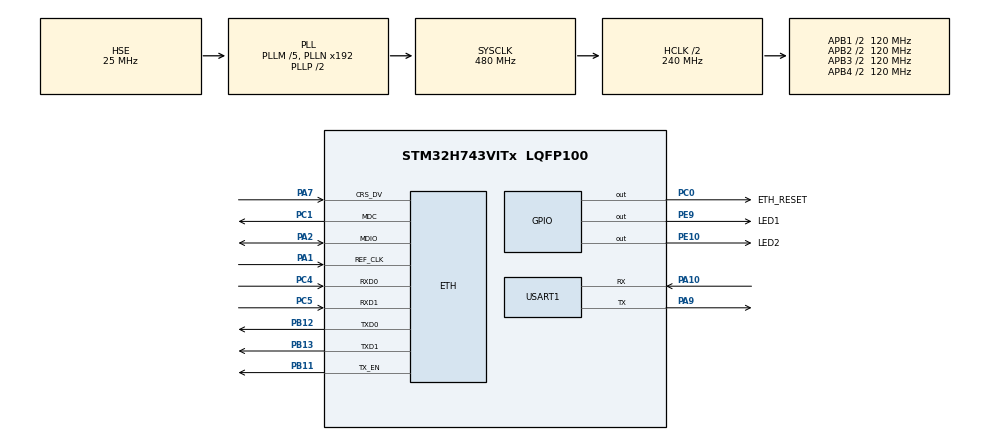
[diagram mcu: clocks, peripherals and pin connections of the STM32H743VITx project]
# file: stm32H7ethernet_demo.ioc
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CORTEX_M7.AccessPermission_S-Cortex_Memory_Protection_Unit_Region1_Settings_S=MPU_REGION_FULL_ACCESS
CORTEX_M7.AccessPermission_S-Cortex_Memory_Protection_Unit_Region2_Settings_S=MPU_REGION_FULL_ACCESS
CORTEX_M7.BaseAddress_S-Cortex_Memory_Protection_Unit_Region1_Settings_S=0x30040000
CORTEX_M7.BaseAddress_S-Cortex_Memory_Protection_Unit_Region2_Settings_S=0x30040000
CORTEX_M7.CPU_DCache=Disabled
CORTEX_M7.CPU_ICache=Enabled
CORTEX_M7.DisableExec_S-Cortex_Memory_Protection_Unit_Region1_Settings_S=MPU_INSTRUCTION_ACCESS_DISABLE
CORTEX_M7.DisableExec_S-Cortex_Memory_Protection_Unit_Region2_Settings_S=MPU_INSTRUCTION_ACCESS_DISABLE
CORTEX_M7.Enable_S-Cortex_Memory_Protection_Unit_Region1_Settings_S=MPU_REGION_ENABLE
CORTEX_M7.Enable_S-Cortex_Memory_Protection_Unit_Region2_Settings_S=MPU_REGION_ENABLE
CORTEX_M7.IsBufferable_S-Cortex_Memory_Protection_Unit_Region2_Settings_S=MPU_ACCESS_BUFFERABLE
CORTEX_M7.IsShareable_S-Cortex_Memory_Protection_Unit_Region1_Settings_S=MPU_ACCESS_SHAREABLE
CORTEX_M7.Size_S-Cortex_Memory_Protection_Unit_Region1_Settings_S=MPU_REGION_SIZE_32KB
CORTEX_M7.Size_S-Cortex_Memory_Protection_Unit_Region2_Settings_S=MPU_REGION_SIZE_512B
CORTEX_M7.TypeExtField_S-Cortex_Memory_Protection_Unit_Region1_Settings_S=MPU_TEX_LEVEL1
CORTEX_M7.default_mode_Activation=1
ETH.ETH_RX_DESC_CNT=8
ETH.MediaInterface=HAL_ETH_RMII_MODE
ETH.RxBufferAddress=0x30042000
ETH.RxDescAddress=0x30040000
ETH.TxDescAddress=0x30040100
FREERTOS.Tasks01=BootstrapTask,24,128,StartBootstrapTask,Default,NULL,Dynamic,NULL,NULL;EthernetRuntime,32,256,EthernetRtos_RuntimeTask,As weak,NULL,Dynamic,NULL,NULL
Mcu.Family=STM32H7
Mcu.Name=STM32H743VITx
Mcu.Package=LQFP100
NVIC.ETH_IRQn=true\:5\:0\:false\:false\:true\:true\:true\:true\:true
NVIC.PriorityGroup=NVIC_PRIORITYGROUP_4
NVIC.TIM6_DAC_IRQn=true\:15\:0\:false\:false\:true\:false\:false\:true\:true
NVIC.TimeBase=TIM6_DAC_IRQn
NVIC.TimeBaseIP=TIM6
PA1.Mode=RMII
PA1.Signal=ETH_REF_CLK
PA10.Mode=Asynchronous
PA10.Signal=USART1_RX
PA2.Mode=RMII
PA2.Signal=ETH_MDIO
PA7.Mode=RMII
PA7.Signal=ETH_CRS_DV
PA9.Mode=Asynchronous
PA9.Signal=USART1_TX
PB11.Mode=RMII
PB11.Signal=ETH_TX_EN
PB12.Mode=RMII
PB12.Signal=ETH_TXD0
PB13.Mode=RMII
PB13.Signal=ETH_TXD1
PC0.GPIO_Label=ETH_RESET
PC0.Signal=GPIO_Output
PC1.Mode=RMII
PC1.Signal=ETH_MDC
PC14-OSC32_IN\ (OSC32_IN).Mode=LSE-External-Oscillator
PC14-OSC32_IN\ (OSC32_IN).Signal=RCC_OSC32_IN
PC15-OSC32_OUT\ (OSC32_OUT).Mode=LSE-External-Oscillator
PC15-OSC32_OUT\ (OSC32_OUT).Signal=RCC_OSC32_OUT
PC4.Mode=RMII
PC4.Signal=ETH_RXD0
PC5.Mode=RMII
PC5.Signal=ETH_RXD1
PE10.GPIO_Label=LED2
PE10.GPIO_PuPd=GPIO_PULLUP
PE10.GPIO_Speed=GPIO_SPEED_FREQ_MEDIUM
PE10.PinState=GPIO_PIN_SET
PE10.Signal=GPIO_Output
PE9.GPIO_Label=LED1
PE9.GPIO_PuPd=GPIO_PULLUP
PE9.GPIO_Speed=GPIO_SPEED_FREQ_MEDIUM
PE9.PinState=GPIO_PIN_SET
PE9.Signal=GPIO_Output
PH0-OSC_IN\ (PH0).Mode=HSE-External-Oscillator
PH0-OSC_IN\ (PH0).Signal=RCC_OSC_IN
PH1-OSC_OUT\ (PH1).Mode=HSE-External-Oscillator
PH1-OSC_OUT\ (PH1).Signal=RCC_OSC_OUT
ProjectManager.HeapSize=0x200
ProjectManager.StackSize=0x400
ProjectManager.TargetToolchain=CMake
RCC.ADCFreq_Value=50390625
RCC.APB1Freq_Value=120000000
RCC.APB2Freq_Value=120000000
RCC.APB3Freq_Value=120000000
RCC.APB4Freq_Value=120000000
RCC.CortexFreq_Value=480000000
RCC.D1PPRE=RCC_APB3_DIV2
RCC.D2PPRE1=RCC_APB1_DIV2
RCC.D2PPRE2=RCC_APB2_DIV2
RCC.D3PPRE=RCC_APB4_DIV2
RCC.DIVM1=5
RCC.DIVN1=192
RCC.HCLKFreq_Value=240000000
RCC.HPRE=RCC_HCLK_DIV2
RCC.PLLFRACN=0
RCC.PLLSourceVirtual=RCC_PLLSOURCE_HSE
RCC.SYSCLKFreq_VALUE=480000000
RCC.SYSCLKSource=RCC_SYSCLKSOURCE_PLLCLK
RCC.USBFreq_Value=480000000
USART1.VirtualMode-Asynchronous=VM_ASYNC
VP_FREERTOS_VS_CMSIS_V2.Mode=CMSIS_V2
VP_MEMORYMAP_VS_MEMORYMAP.Mode=CurAppReg
VP_SYS_VS_tim6.Mode=TIM6
board=custom

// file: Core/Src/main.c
/* USER CODE BEGIN Header */
/**
  ******************************************************************************
  * @file           : main.c
  * @brief          : Main program body
  ******************************************************************************
  * @attention
  *
  * Copyright (c) 2026 STMicroelectronics.
  * All rights reserved.
  *
  * This software is licensed under terms that can be found in the LICENSE file
  * in the root directory of this software component.
  * If no LICENSE file comes with this software, it is provided AS-IS.
  *
  ******************************************************************************
  */
/* USER CODE END Header */
#include "main.h"
#include "FreeRTOS.h"
#include "cmsis_os2.h"
#include "eth.h"
#include "usart.h"
#include "gpio.h"

/* USER CODE BEGIN Includes */
#include "ethernet_driver.h"
#include "ethernet_port.h"
/* USER CODE END Includes */

void SystemClock_Config(void);
static void MPU_Config(void);
void MX_FREERTOS_Init(void);

int main(void)
{

  /* MPU Configuration--------------------------------------------------------*/
  MPU_Config();

  /* Enable the CPU Cache */

  /* Enable I-Cache---------------------------------------------------------*/
  SCB_EnableICache();

  /* MCU Configuration--------------------------------------------------------*/

  /* Reset of all peripherals, Initializes the Flash interface and the Systick. */
  HAL_Init();

  /* Configure the system clock */
  SystemClock_Config();

  /* USER CODE BEGIN SysInit */
  EthernetPort_PrepareDmaMemory();
  /* USER CODE END SysInit */

  /* Initialize all configured peripherals */
  MX_GPIO_Init();
  MX_USART1_UART_Init();
  MX_ETH_Init();
  /* USER CODE BEGIN 2 */
  EthernetDriver_Init();
  /* USER CODE END 2 */

  /* Init scheduler */
  osKernelInitialize();  /* Call init function for freertos objects (in cmsis_os2.c) */
  MX_FREERTOS_Init();

  /* Start scheduler */
  osKernelStart();

  /* We should never get here as control is now taken by the scheduler */

  /* Infinite loop */
  while (1)
  {

  }
}

void SystemClock_Config(void)
{
  RCC_OscInitTypeDef RCC_OscInitStruct = {0};
  RCC_ClkInitTypeDef RCC_ClkInitStruct = {0};

  /** Supply configuration update enable
  */
  HAL_PWREx_ConfigSupply(PWR_LDO_SUPPLY);

  /** Configure the main internal regulator output voltage
  */
  __HAL_PWR_VOLTAGESCALING_CONFIG(PWR_REGULATOR_VOLTAGE_SCALE0);

  while(!__HAL_PWR_GET_FLAG(PWR_FLAG_VOSRDY)) {}

  /** Initializes the RCC Oscillators according to the specified parameters
  * in the RCC_OscInitTypeDef structure.
  */
  RCC_OscInitStruct.OscillatorType = RCC_OSCILLATORTYPE_HSE;
  RCC_OscInitStruct.HSEState = RCC_HSE_ON;
  RCC_OscInitStruct.PLL.PLLState = RCC_PLL_ON;
  RCC_OscInitStruct.PLL.PLLSource = RCC_PLLSOURCE_HSE;
  RCC_OscInitStruct.PLL.PLLM = 5;
  RCC_OscInitStruct.PLL.PLLN = 192;
  RCC_OscInitStruct.PLL.PLLP = 2;
  RCC_OscInitStruct.PLL.PLLQ = 2;
  RCC_OscInitStruct.PLL.PLLR = 2;
  RCC_OscInitStruct.PLL.PLLRGE = RCC_PLL1VCIRANGE_2;
  RCC_OscInitStruct.PLL.PLLVCOSEL = RCC_PLL1VCOWIDE;
  RCC_OscInitStruct.PLL.PLLFRACN = 0;
  if (HAL_RCC_OscConfig(&RCC_OscInitStruct) != HAL_OK)
  {
    Error_Handler();
  }

  /** Initializes the CPU, AHB and APB buses clocks
  */
  RCC_ClkInitStruct.ClockType = RCC_CLOCKTYPE_HCLK|RCC_CLOCKTYPE_SYSCLK
                              |RCC_CLOCKTYPE_PCLK1|RCC_CLOCKTYPE_PCLK2
                              |RCC_CLOCKTYPE_D3PCLK1|RCC_CLOCKTYPE_D1PCLK1;
  RCC_ClkInitStruct.SYSCLKSource = RCC_SYSCLKSOURCE_PLLCLK;
  RCC_ClkInitStruct.SYSCLKDivider = RCC_SYSCLK_DIV1;
  RCC_ClkInitStruct.AHBCLKDivider = RCC_HCLK_DIV2;
  RCC_ClkInitStruct.APB3CLKDivider = RCC_APB3_DIV2;
  RCC_ClkInitStruct.APB1CLKDivider = RCC_APB1_DIV2;
  RCC_ClkInitStruct.APB2CLKDivider = RCC_APB2_DIV2;
  RCC_ClkInitStruct.APB4CLKDivider = RCC_APB4_DIV2;

  if (HAL_RCC_ClockConfig(&RCC_ClkInitStruct, FLASH_LATENCY_4) != HAL_OK)
  {
    Error_Handler();
  }
}

 /* MPU Configuration */

void MPU_Config(void)
{
  MPU_Region_InitTypeDef MPU_InitStruct = {0};

  /* Disables the MPU */
  HAL_MPU_Disable();

  /** Initializes and configures the Region and the memory to be protected
  */
  MPU_InitStruct.Enable = MPU_REGION_ENABLE;
  MPU_InitStruct.Number = MPU_REGION_NUMBER0;
  MPU_InitStruct.BaseAddress = 0x0;
  MPU_InitStruct.Size = MPU_REGION_SIZE_4GB;
  MPU_InitStruct.SubRegionDisable = 0x87;
  MPU_InitStruct.TypeExtField = MPU_TEX_LEVEL0;
  MPU_InitStruct.AccessPermission = MPU_REGION_NO_ACCESS;
  MPU_InitStruct.DisableExec = MPU_INSTRUCTION_ACCESS_DISABLE;
  MPU_InitStruct.IsShareable = MPU_ACCESS_SHAREABLE;
  MPU_InitStruct.IsCacheable = MPU_ACCESS_NOT_CACHEABLE;
  MPU_InitStruct.IsBufferable = MPU_ACCESS_NOT_BUFFERABLE;

  HAL_MPU_ConfigRegion(&MPU_InitStruct);

  /** Initializes and configures the Region and the memory to be protected
  */
  MPU_InitStruct.Number = MPU_REGION_NUMBER1;
  MPU_InitStruct.BaseAddress = 0x30040000;
  MPU_InitStruct.Size = MPU_REGION_SIZE_32KB;
  MPU_InitStruct.SubRegionDisable = 0x0;
  MPU_InitStruct.TypeExtField = MPU_TEX_LEVEL1;
  MPU_InitStruct.AccessPermission = MPU_REGION_FULL_ACCESS;

  HAL_MPU_ConfigRegion(&MPU_InitStruct);

  /** Initializes and configures the Region and the memory to be protected
  */
  MPU_InitStruct.Number = MPU_REGION_NUMBER2;
  MPU_InitStruct.Size = MPU_REGION_SIZE_512B;
  MPU_InitStruct.TypeExtField = MPU_TEX_LEVEL0;
  MPU_InitStruct.IsShareable = MPU_ACCESS_NOT_SHAREABLE;
  MPU_InitStruct.IsBufferable = MPU_ACCESS_BUFFERABLE;

  HAL_MPU_ConfigRegion(&MPU_InitStruct);
  /* Enables the MPU */
  HAL_MPU_Enable(MPU_PRIVILEGED_DEFAULT);

}

void HAL_TIM_PeriodElapsedCallback(TIM_HandleTypeDef *htim)
{
  if (htim->Instance == TIM6)
  {
    HAL_IncTick();
  }
}

void Error_Handler(void)
{
  __disable_irq();
  while (1)
  {
  }
}

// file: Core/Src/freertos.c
/* USER CODE BEGIN Header */
/**
  ******************************************************************************
  * File Name          : freertos.c
  * Description        : Code for freertos applications
  ******************************************************************************
  * @attention
  *
  * Copyright (c) 2026 STMicroelectronics.
  * All rights reserved.
  *
  * This software is licensed under terms that can be found in the LICENSE file
  * in the root directory of this software component.
  * If no LICENSE file comes with this software, it is provided AS-IS.
  *
  ******************************************************************************
  */
/* USER CODE END Header */

#include "FreeRTOS.h"
#include "task.h"
#include "main.h"
#include "FreeRTOS.h"
#include "cmsis_os2.h"

/* USER CODE BEGIN Includes */
#include <stdbool.h>
#include <stdio.h>

#include "ethernet_driver.h"
#include "ethernet_port.h"
#include "ethernet_rtos.h"
#include "lan8720.h"
/* USER CODE END Includes */

/* USER CODE BEGIN PD */
#define LAN8720_PHY_ADDRESS                 0U

#define PHY_INIT_TIMEOUT_MS              100U
#define PHY_INIT_POLL_PERIOD_MS            5U

#define AUTO_NEGOTIATION_TIMEOUT_MS      5000U
#define AUTO_NEGOTIATION_POLL_PERIOD_MS   100U

#define PHY_LINK_POLL_PERIOD_MS           200U

#define ETHERNET_RX_TEST_ETHERTYPE      0x88B5U
#define ETHERNET_RX_TEST_TARGET_COUNT   1000U

#define ETHERNET_ASYNC_TX_TEST_ENABLE       0
#define ETHERNET_TX_TEST_TARGET_COUNT    1000U
#define ETHERNET_TX_TEST_RETRY_TIMEOUT_MS 5000U

#define ETHERNET_TX_TEST_COMPLETION_TIMEOUT_MS 5000U
#define ETHERNET_STATS_PRINT_PERIOD_MS 2000U
/* USER CODE END PD */

/* USER CODE BEGIN Variables */
static uint32_t g_ethernet_rx_frame_count;
static volatile uint32_t g_ethernet_rx_test_frame_count;
/* USER CODE END Variables */
/* Definitions for BootstrapTask */
osThreadId_t BootstrapTaskHandle;
const osThreadAttr_t BootstrapTask_attributes = {
  .name = "BootstrapTask",
  .stack_size = 128 * 4,
  .priority = (osPriority_t) osPriorityNormal,
};
/* Definitions for EthernetRuntime */
osThreadId_t EthernetRuntimeHandle;
const osThreadAttr_t EthernetRuntime_attributes = {
  .name = "EthernetRuntime",
  .stack_size = 256 * 4,
  .priority = (osPriority_t) osPriorityAboveNormal,
};

/* USER CODE BEGIN FunctionPrototypes */
static bool EthernetBootstrap_StartMac(const Lan8720Status *phy_status);
static void EthernetDemo_RxFrameHandler(const uint8_t *frame, uint16_t length, void *context);

#if ETHERNET_ASYNC_TX_TEST_ENABLE
static bool EthernetDemo_RunAsyncTxTest(void);
#endif
/* USER CODE END FunctionPrototypes */

void StartBootstrapTask(void *argument);
void EthernetRtos_RuntimeTask(void *argument);

void MX_FREERTOS_Init(void); /* (MISRA C 2004 rule 8.1) */

void MX_FREERTOS_Init(void) {

  /* Create the thread(s) */
  /* creation of BootstrapTask */
  BootstrapTaskHandle = osThreadNew(StartBootstrapTask, NULL, &BootstrapTask_attributes);

  /* creation of EthernetRuntime */
  EthernetRuntimeHandle = osThreadNew(EthernetRtos_RuntimeTask, NULL, &EthernetRuntime_attributes);

}

void StartBootstrapTask(void *argument)
{
  /* USER CODE BEGIN StartBootstrapTask */
  Lan8720Status phy_status = {0};
  Lan8720Status last_phy_status = {0};
  Lan8720Result phy_result = LAN8720_RESULT_NOT_READY;

  bool last_status_valid = false;
  bool negotiation_ready = false;

  uint32_t elapsed_ms = 0U;

  (void)argument;

  printf("[ETH] BootstrapTask started\r\n");

  EthernetRtos_SetRxFrameHandler(EthernetDemo_RxFrameHandler, NULL);

  /*
   * MX_GPIO_Init() 已将 PHY nRST 拉低。
   * 等待上电稳定后，由板级 Port 释放 PHY Hardware Reset。
   */
  osDelay(25U);
  EthernetPort_PhyResetRelease();

  /*
   * 初始化 LAN8720。
   *
   * Lan8720_Init() 只验证 PHY 并确保 Auto-negotiation 已启用，
   * 不等待 Link Up，因此 timeout / retry 仍由 BootstrapTask 管理。
   */
  elapsed_ms = 0U;

  while (elapsed_ms < PHY_INIT_TIMEOUT_MS)
  {
    phy_result = Lan8720_Init(LAN8720_PHY_ADDRESS);

    if (phy_result == LAN8720_RESULT_OK)
    {
      break;
    }

    /*
     * 参数错误和 PHY ID 不匹配属于永久配置错误，
     * 继续等待不会改变结果，因此立即结束初始化。
     */
    if ((phy_result == LAN8720_RESULT_ERROR_ARGUMENT) ||
        (phy_result == LAN8720_RESULT_ERROR_ID))
    {
      break;
    }

    /*
     * NOT_READY 和暂时的 MDIO 访问失败允许在 Reset 释放后短时间重试。
     */
    osDelay(PHY_INIT_POLL_PERIOD_MS);
    elapsed_ms += PHY_INIT_POLL_PERIOD_MS;
  }

  if (phy_result != LAN8720_RESULT_OK)
  {
    printf(
      "[ETH] PHY init failed, result=%d\r\n",
      (int)phy_result);
  }
  else
  {
    printf("[ETH] PHY initialized\r\n");
    printf("[ETH] Waiting for auto-negotiation\r\n");

    /*
     * Hardware Reset 已经让 LAN8720 自行开始 Auto-negotiation。
     * 此处只等待 PHY 报告协商完成，不再主动 Restart。
     */
    elapsed_ms = 0U;

    while (elapsed_ms < AUTO_NEGOTIATION_TIMEOUT_MS)
    {
      phy_result = Lan8720_GetStatus(
        LAN8720_PHY_ADDRESS,
        &phy_status);

      if ((phy_result == LAN8720_RESULT_OK) &&
          phy_status.link_up &&
          phy_status.auto_negotiation_complete)
      {
        negotiation_ready = true;
        break;
      }

      /*
       * 状态读取期间允许临时 NOT_READY / MDIO failure。
       * timeout 仍由调用层统一控制。
       */
      osDelay(AUTO_NEGOTIATION_POLL_PERIOD_MS);
      elapsed_ms += AUTO_NEGOTIATION_POLL_PERIOD_MS;
    }

    if (negotiation_ready)
    {
      printf("[ETH] Link up\r\n");

      if (phy_status.speed == LAN8720_SPEED_100M)
      {
        printf("[ETH] Speed=100M\r\n");
      }
      else if (phy_status.speed == LAN8720_SPEED_10M)
      {
        printf("[ETH] Speed=10M\r\n");
      }
      else
      {
        printf("[ETH] Speed=Unknown\r\n");
      }

      if (phy_status.duplex == LAN8720_DUPLEX_FULL)
      {
        printf("[ETH] Duplex=Full\r\n");
      }
      else if (phy_status.duplex == LAN8720_DUPLEX_HALF)
      {
        printf("[ETH] Duplex=Half\r\n");
      }
      else
      {
        printf("[ETH] Duplex=Unknown\r\n");
      }

      if (EthernetBootstrap_StartMac(&phy_status))
      {
        printf("[ETH] MAC/DMA started\r\n");

        #if ETHERNET_ASYNC_TX_TEST_ENABLE
        if (EthernetDemo_RunAsyncTxTest())
        {
          printf("[ETH] Async TX queued 1000/1000\r\n");
        }
        #endif
      }

      last_phy_status = phy_status;
      last_status_valid = true;
    }
    else
    {
      printf(
        "[ETH] Auto-negotiation timeout or link down\r\n");
    }
  }

  uint32_t stats_elapsed_ms = 0U;

  for (;;)
  {
    stats_elapsed_ms += PHY_LINK_POLL_PERIOD_MS;

    if (stats_elapsed_ms >= ETHERNET_STATS_PRINT_PERIOD_MS)
    {
      EthernetDriverStats stats = {0};

      if (EthernetDriver_GetStats(&stats))
      {
        printf(
          "[ETH][STAT] test=%lu rx=%lu err=%lu "
          "drop=%lu no_buf=%lu hal=%lu "
          "dma=0x%08lX\r\n",
          (unsigned long)g_ethernet_rx_test_frame_count,
          (unsigned long)stats.rx_frames,
          (unsigned long)stats.rx_errors,
          (unsigned long)stats.rx_dropped,
          (unsigned long)stats.rx_buffer_unavailable,
          (unsigned long)stats.hal_error_events,
          (unsigned long)stats.last_dma_error_code);
      }

      stats_elapsed_ms = 0U;
    }

    osDelay(PHY_LINK_POLL_PERIOD_MS);
  }

  /* USER CODE END StartBootstrapTask */
}

__weak void EthernetRtos_RuntimeTask(void *argument)
{
  for(;;)
  {
    osDelay(1);
  }
}

/* USER CODE BEGIN Application */
/**
 * @brief  根据 PHY 协商结果配置并启动 Ethernet MAC/DMA。
 *
 * @param[in] phy_status PHY 当前链路状态。
 *
 * @retval true   MAC 配置并启动成功。
 * @retval false  PHY 状态无效、RX Runtime 未就绪或 Ethernet 操作失败。
 */
static bool EthernetBootstrap_StartMac(const Lan8720Status *phy_status)
{
  EthernetLinkSpeed speed;
  EthernetDuplexMode duplex;

  if ((phy_status == NULL) ||
      !phy_status->link_up ||
      !phy_status->auto_negotiation_complete)
  {
    return false;
  }

  if (!EthernetRtos_IsReady())
  {
    printf("[ETH] Ethernet runtime not ready\r\n");
    return false;
  }

  if (phy_status->speed == LAN8720_SPEED_100M)
  {
    speed = ETHERNET_LINK_SPEED_100M;
  }
  else if (phy_status->speed == LAN8720_SPEED_10M)
  {
    speed = ETHERNET_LINK_SPEED_10M;
  }
  else
  {
    printf("[ETH] Unsupported PHY speed\r\n");
    return false;
  }

  if (phy_status->duplex == LAN8720_DUPLEX_FULL)
  {
    duplex = ETHERNET_DUPLEX_FULL;
  }
  else if (phy_status->duplex == LAN8720_DUPLEX_HALF)
  {
    duplex = ETHERNET_DUPLEX_HALF;
  }
  else
  {
    printf("[ETH] Unsupported PHY duplex mode\r\n");
    return false;
  }

  if (!EthernetDriver_ConfigureLink(speed, duplex))
  {
    printf("[ETH] MAC link config failed\r\n");
    return false;
  }

  if (!EthernetDriver_Start())
  {
    printf("[ETH] MAC/DMA start failed\r\n");
    return false;
  }

  return true;
}

/**
 * @brief  Demo RX Frame 处理函数。
 */
static void EthernetDemo_RxFrameHandler(const uint8_t *frame, uint16_t length, void *context)
{
    uint16_t ether_type;

    (void)context;

    if ((frame == NULL) || (length < 14U))
    {
        return;
    }

    g_ethernet_rx_frame_count++;

    ether_type =
        ((uint16_t)frame[12] << 8) |
        (uint16_t)frame[13];

    if (ether_type != ETHERNET_RX_TEST_ETHERTYPE)
    {
        return;
    }

    g_ethernet_rx_test_frame_count++;
}

#if ETHERNET_ASYNC_TX_TEST_ENABLE

/**
 * @brief 连续异步提交测试 Frame，并验证 TX completion ownership。
 *
 * @details
 * 先记录 Driver Stats 基线，然后提交指定数量 Frame。
 * 全部提交完成后继续等待 TX Buffer completion recycle，
 * 最终要求 queued 和 completed 增量都等于测试目标值。
 *
 * @retval true   所有 Frame 均已提交并完成回收。
 * @retval false  Driver error、提交超时或 completion 超时。
 */
static bool EthernetDemo_RunAsyncTxTest(void)
{
    static uint8_t test_frame[60] = {
        0xFF, 0xFF, 0xFF, 0xFF, 0xFF, 0xFF,
        0x00, 0x00, 0x00, 0x00, 0x00, 0x00,
        0x88, 0xB5,
        'S', 'T', 'M', '3', '2', 'H', '7', ' ',
        'a', 's', 'y', 'n', 'c', ' ', 'T', 'X'
    };

    EthernetDriverStats stats_before = {0};
    EthernetDriverStats stats_after = {0};

    uint32_t queued = 0U;
    uint32_t retry_wait_ms = 0U;
    uint32_t completion_wait_ms = 0U;

    if (!EthernetDriver_GetStats(&stats_before))
    {
        printf("[ETH] Failed to get TX stats baseline\r\n");
        return false;
    }

    while (queued < ETHERNET_TX_TEST_TARGET_COUNT)
    {
        EthernetTxResult result;

        test_frame[56] = (uint8_t)(queued >> 24);
        test_frame[57] = (uint8_t)(queued >> 16);
        test_frame[58] = (uint8_t)(queued >> 8);
        test_frame[59] = (uint8_t)queued;

        result = EthernetDriver_TransmitAsync(test_frame, sizeof(test_frame));

        if (result == ETHERNET_TX_QUEUED)
        {
            queued++;
            retry_wait_ms = 0U;

            if ((queued % 100U) == 0U)
            {
                printf("[ETH] Async TX queued=%lu\r\n", (unsigned long)queued);
            }

            continue;
        }

        if (result == ETHERNET_TX_ERROR)
        {
            printf("[ETH] Async TX driver error\r\n");
            return false;
        }

        if (retry_wait_ms >=
            ETHERNET_TX_TEST_RETRY_TIMEOUT_MS)
        {
            printf("[ETH] Async TX stalled at %lu\r\n", (unsigned long)queued);

            return false;
        }

        osDelay(1U);
        retry_wait_ms++;
    }

    /*
     * queued 只代表 HAL 已接收 Frame。
     * 继续等待 tx_completed，确认所有 TX DMA Buffer 已真正归还。
     */
    while (completion_wait_ms < ETHERNET_TX_TEST_COMPLETION_TIMEOUT_MS)
    {
        uint32_t completed_delta;

        if (!EthernetDriver_GetStats(&stats_after))
        {
            return false;
        }

        completed_delta = stats_after.tx_completed - stats_before.tx_completed;

        if (completed_delta >= ETHERNET_TX_TEST_TARGET_COUNT)
        {
            break;
        }

        osDelay(1U);
        completion_wait_ms++;
    }

    if (!EthernetDriver_GetStats(&stats_after))
    {
        return false;
    }

    printf(
        "[ETH] TX stats: queued=%lu completed=%lu "
        "retry=%lu error=%lu\r\n",
        (unsigned long)(
            stats_after.tx_queued -
            stats_before.tx_queued),
        (unsigned long)(
            stats_after.tx_completed -
            stats_before.tx_completed),
        (unsigned long)(
            stats_after.tx_retries -
            stats_before.tx_retries),
        (unsigned long)(
            stats_after.tx_errors -
            stats_before.tx_errors));

    return ((stats_after.tx_queued -
             stats_before.tx_queued) ==
            ETHERNET_TX_TEST_TARGET_COUNT) &&
           ((stats_after.tx_completed -
             stats_before.tx_completed) ==
            ETHERNET_TX_TEST_TARGET_COUNT) &&
           ((stats_after.tx_errors -
             stats_before.tx_errors) == 0U);
}

#endif
/* USER CODE END Application */
